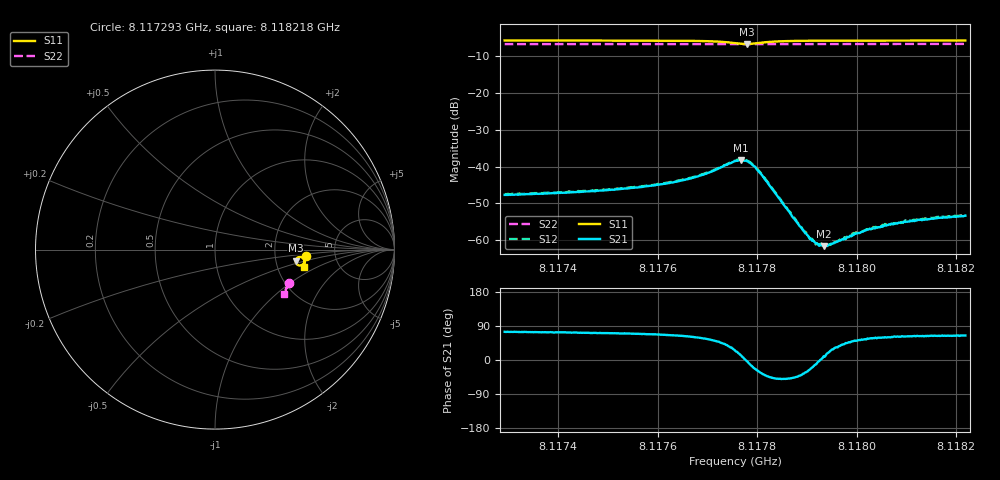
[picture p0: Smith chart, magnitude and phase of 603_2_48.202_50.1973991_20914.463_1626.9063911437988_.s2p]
#  HZ  S  RI  R  50.00
! Rohde & Schwarz Vector Network Analyzer
! Rohde-Schwarz,ZNB20-2Port,1311601062101988,3.16
! Created: UTC 3/20/2024, 12:03:05 PM
! freq[Hz]  re:S11  im:S11  re:S21  im:S21  re:S12  im:S12  re:S22  im:S22
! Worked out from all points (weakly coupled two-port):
!   401 points, 8.117293 GHz to 8.118218 GHz, reference 50 ohm
!   highest |S21| = -38.24 dB at 8.117767 GHz (marker M1); lowest = -61.5 dB at 8.117934 GHz (marker M2)
!   lowest |S11| = -6.9 dB at 8.117779 GHz (marker M3), VSWR 2.66, Z = 129 - j20 ohm
!   |S11| at or under -10 dB: nowhere
!   |S22| runs from -6.9 to -6.8 dB; largest |S21 - S12| = 0.00047
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8.1172928e9  0.5053 -0.0382  0.00111 0.00398  0.00121 0.00407  0.4114 -0.1878
8.1174479e9  0.5034 -0.0514  0.00143 0.00432  0.00148 0.00439  0.4071 -0.1978
8.1175543e9  0.5012 -0.062  0.00184 0.00485  0.00193 0.00495  0.404 -0.2047
8.1176029e9  0.4994 -0.0676  0.00219 0.00526  0.00231 0.00532  0.4025 -0.2079
8.1176746e9  0.4935 -0.0784  0.00356 0.0062  0.00359 0.00633  0.4001 -0.2127
8.117707e9  0.4865 -0.0847  0.00508 0.00682  0.00523 0.00695  0.3985 -0.2148
8.1177556e9  0.4594 -0.0842  0.0107 0.005  0.0108 0.00512  0.396 -0.2172
8.1177672e9  0.4516 -0.0749  0.0119 0.00275  0.0122 0.00269  0.3956 -0.2175
8.1177787e9  0.4496 -0.0614  0.012 -0.000406  0.0122 -0.000498  0.3953 -0.2175
8.1177926e9  0.4574 -0.0469  0.00962 -0.00351  0.00987 -0.00352  0.3953 -0.2178
8.1178019e9  0.4657 -0.0421  0.00766 -0.00426  0.00787 -0.00458  0.3954 -0.2182
8.1178898e9  0.4975 -0.0596  0.00113 -0.000917  0.00114 -0.000954  0.394 -0.2247
8.1179037e9  0.4982 -0.0624  0.001 -0.000512  0.000979 -0.000529  0.3936 -0.2256
8.1179106e9  0.4985 -0.0636  0.000932 -0.000338  0.000997 -0.000326  0.3933 -0.226
8.1179222e9  0.4988 -0.0656  0.000894 -7.01e-05  0.000884 -5.91e-05  0.393 -0.2267
8.1179338e9  0.4991 -0.0675  0.000824 0.000146  0.000862 9.86e-05  0.3926 -0.2276
8.117943e9  0.4991 -0.0687  0.000821 0.000282  0.000815 0.00027  0.3923 -0.2282
8.1179963e9  0.4993 -0.0757  0.000774 0.000964  0.000807 0.00095  0.3904 -0.2316
8.1180217e9  0.4992 -0.0786  0.000765 0.00118  0.000842 0.00112  0.3897 -0.2333
8.1180657e9  0.4987 -0.083  0.000825 0.00143  0.000888 0.00145  0.3882 -0.2361
8.1181212e9  0.4981 -0.0882  0.000821 0.00167  0.000887 0.00172  0.3864 -0.2394
8.1182184e9  0.4965 -0.0967  0.000925 0.00196  0.000922 0.002  0.383 -0.2453
